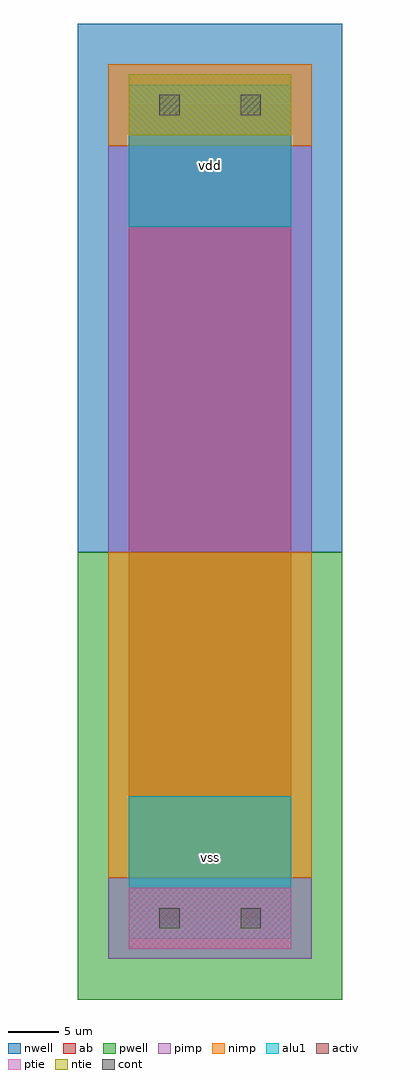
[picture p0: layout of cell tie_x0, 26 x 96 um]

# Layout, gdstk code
import gdstk
lib = gdstk.Library(unit=1e-6, precision=1e-09)
def R(c, l, rs):  # rectangles x0, y0, x1, y1
    for r in rs: c.add(gdstk.rectangle(r[:2], r[2:], *l))
ntie = (5, 0)
ptie = (6, 0)
cont = (25, 0)
pwell = (41, 0)
nwell = (42, 0)
activ = (43, 0)
pimp = (44, 0)
nimp = (45, 0)
alu1 = (49, 0)
ab = (63, 0)

tie_x0 = lib.new_cell('tie_x0')
R(tie_x0, ntie, [(0,77,16,83)])
R(tie_x0, ptie, [(0,-3,16,3)])
R(tie_x0, cont, [(3,-1,5,1), (11,-1,13,1), (3,79,5,81), (11,79,13,81)])
R(tie_x0, pwell, [(-5,-8,21,36)])
R(tie_x0, nwell, [(-5,36,21,88)])
R(tie_x0, activ, [(0,-3,16,3), (0,77,16,83)])
R(tie_x0, pimp, [(-2,-4,18,4), (-2,36,18,76)])
R(tie_x0, nimp, [(-2,4,18,36), (-2,76,18,84)])
R(tie_x0, alu1, [(0,-2,16,12), (0,68,16,82)])
R(tie_x0, ab, [(0,0,16,80)])
tie_x0.add(gdstk.Label('vss', (8,6), layer=49, texttype=0))
tie_x0.add(gdstk.Label('vdd', (8,74), layer=49, texttype=0))

lib.write_gds('tie_x0.gds')
